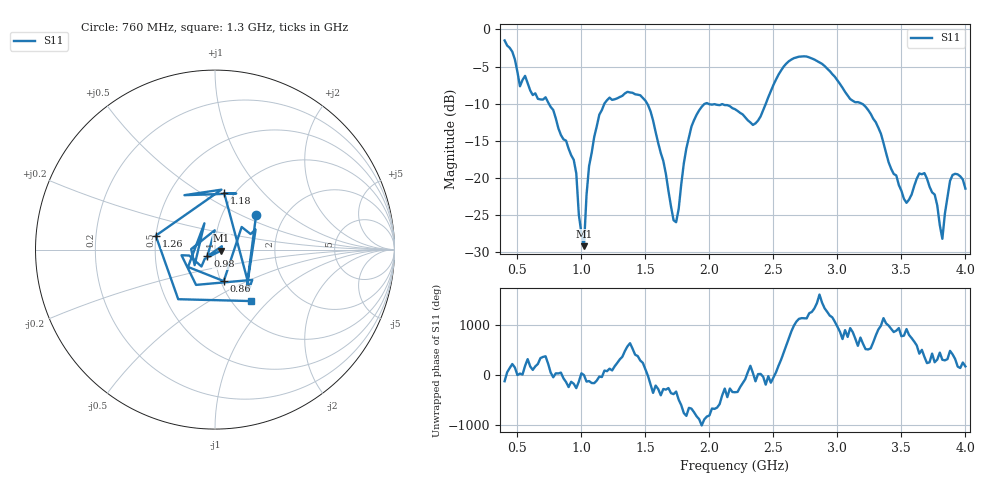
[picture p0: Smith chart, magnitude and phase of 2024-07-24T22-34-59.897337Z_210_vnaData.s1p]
!Created with skrf (http://scikit-rf.org).
# Hz S RI R 50.0
!freq ReS11 ImS11
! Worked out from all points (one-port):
!   181 points, 400 MHz to 4 GHz, reference 50 ohm
!   lowest |S11| = -29.2 dB at 1.02 GHz (marker M1), VSWR 1.07, Z = 53.6 - j0.567 ohm
!   |S11| at or under -10 dB: 1.515 GHz to 1.965 GHz (450.5 MHz wide, 25.9 % of centre); 1.992 GHz to 2.44 GHz (448.2 MHz wide, 20.2 % of centre); 3.192 GHz to end of sweep (the widest 3 of 4)
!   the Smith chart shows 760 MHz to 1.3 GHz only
!   S11 on the Smith chart (normalised r, x): 760 MHz: 1.44, +0.62; 860 MHz: 1.03, -0.38; 980 MHz: 0.92, -0.07; 1.18 GHz: 0.90, +0.63; 1.26 GHz: 0.50, +0.09; 1.3 GHz: 1.22, -0.80
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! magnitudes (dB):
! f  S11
! 400 MHz  -1.5
! 520 MHz  -7.6
! 760 MHz  -10.4
! 860 MHz  -14.8
! 940 MHz  -17.5
! 980 MHz  -24.9
! 1.02 GHz  -29.2
! 1.06 GHz  -18.4
! 1.18 GHz  -10.0
! 1.26 GHz  -9.4
! 1.3 GHz  -9.1
! 1.52 GHz  -10.2
! 1.72 GHz  -25.7
! 1.76 GHz  -24.1
! 1.82 GHz  -16.0
! 1.9 GHz  -11.5
! 2.2 GHz  -10.7
! 2.36 GHz  -12.6
! 2.66 GHz  -3.9
! 2.88 GHz  -4.6
! 3.1 GHz  -9.4
! 3.3 GHz  -12.5
! 3.56 GHz  -22.9
! 3.68 GHz  -19.3
! 3.76 GHz  -22.2
! 3.82 GHz  -28.2
! 3.9 GHz  -19.6
! 4 GHz  -21.4
